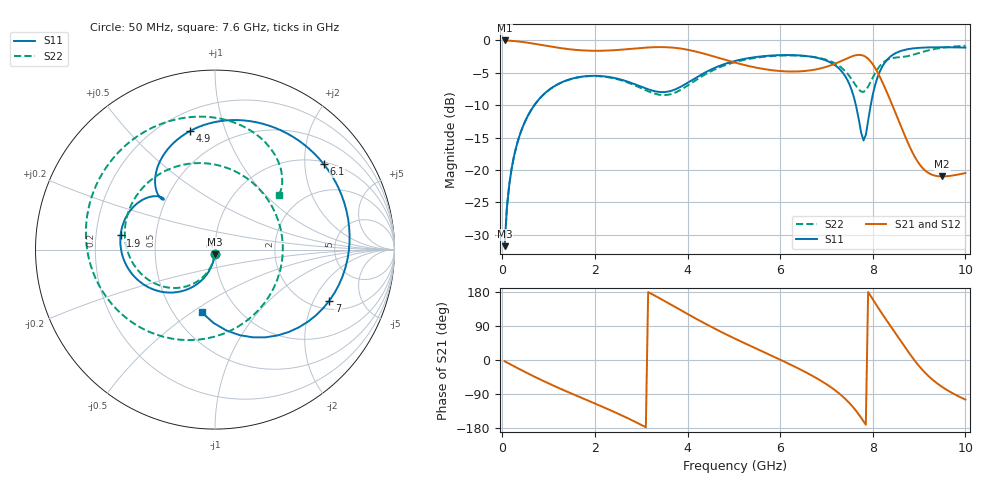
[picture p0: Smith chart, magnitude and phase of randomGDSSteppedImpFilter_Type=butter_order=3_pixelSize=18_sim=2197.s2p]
! freq	dB(S11)	phase(S11)	dB(S12)	phase(S12)
!  dB(S21)	phase(S21)	dB(S22)	phase(S22)
!S-par simulation data
#  GHz  S  DB  R 50
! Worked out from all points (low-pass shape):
!   200 points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, 50 MHz to 10 GHz, reference 50 ohm
!   highest |S21| = -0.01 dB at 50 MHz (marker M1); lowest = -21.0 dB at 9.5 GHz (marker M2)
!   |S21| within 3 dB of the highest: start of sweep to 4.82 GHz; 7.373 GHz to 7.923 GHz (549.8 MHz wide, 7.19 % of centre)
!   lowest |S11| = -31.8 dB at 50 MHz (marker M3), VSWR 1.05, Z = 49.8 - j2.56 ohm
!   |S11| at or under -10 dB: start of sweep to 692.8 MHz; 7.635 GHz to 7.956 GHz (321.5 MHz wide, 4.12 % of centre)
!   |S22| runs from -31.8 to -0.8 dB; largest |S21 - S12| = 0
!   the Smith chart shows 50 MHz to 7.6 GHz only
!   S11 on the Smith chart (normalised r, x): 50 MHz: 1.00, -0.05; 1.9 GHz: 0.31, +0.07; 4.9 GHz: 0.31, +0.76; 6.1 GHz: 1.06, +2.49; 7 GHz: 2.42, -2.68; 7.6 GHz: 0.68, -0.54
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0.05  -31.78 -93.1  -0.01 -3.3  -0.01 -3.3  -31.78 -93.5
0.2  -19.86 -102.7  -0.07 -13.1  -0.07 -13.1  -19.87 -104.3
0.5  -12.39 -120.6  -0.30 -32.2  -0.30 -32.2  -12.40 -124.8
1.75  -5.57 177.6  -1.55 -101.8  -1.55 -101.8  -5.59 157.9
1.9  -5.48 171.5  -1.59 -109.6  -1.59 -109.6  -5.51 148.6
2.7  -6.35 143.7  -1.35 -153.1  -1.35 -153.1  -6.48 90.2
3.4  -7.97 135.4  -1.03 162.7  -1.03 162.7  -8.40 10.1
4.15  -5.90 131.2  -1.67 111.3  -1.67 111.3  -6.27 -90.5
4.9  -3.42 102.1  -3.17 63.7  -3.17 63.7  -3.61 -156.1
5.05  -3.13 94.9  -3.47 54.8  -3.47 54.8  -3.30 -166.4
6.1  -2.26 38.2  -4.78 -4.9  -4.78 -4.9  -2.33 131.9
6.7  -2.55 -0.6  -4.57 -42.0  -4.57 -42.0  -2.53 97.5
7  -3.13 -24.0  -4.07 -63.9  -4.07 -63.9  -2.99 78.5
7.6  -8.97 -102.2  -2.35 -128.2  -2.35 -128.2  -6.59 40.5
7.8  -15.46 167.0  -2.36 -161.6  -2.36 -161.6  -7.95 43.5
8  -8.38 64.7  -3.69 160.1  -3.69 160.1  -5.72 40.3
8.35  -2.69 0.6  -8.76 95.5  -8.76 95.5  -2.89 -17.0
8.65  -1.54 -31.1  -13.98 42.1  -13.98 42.1  -2.54 -90.9
8.95  -1.18 -54.6  -18.50 -8.5  -18.50 -8.5  -2.05 -165.7
9.25  -1.07 -73.9  -20.65 -47.7  -20.65 -47.7  -1.46 140.7
9.5  -1.06 -88.0  -21.01 -71.2  -21.01 -71.2  -1.14 109.7
10  -1.11 -113.5  -20.48 -104.5  -20.48 -104.5  -0.83 67.2
